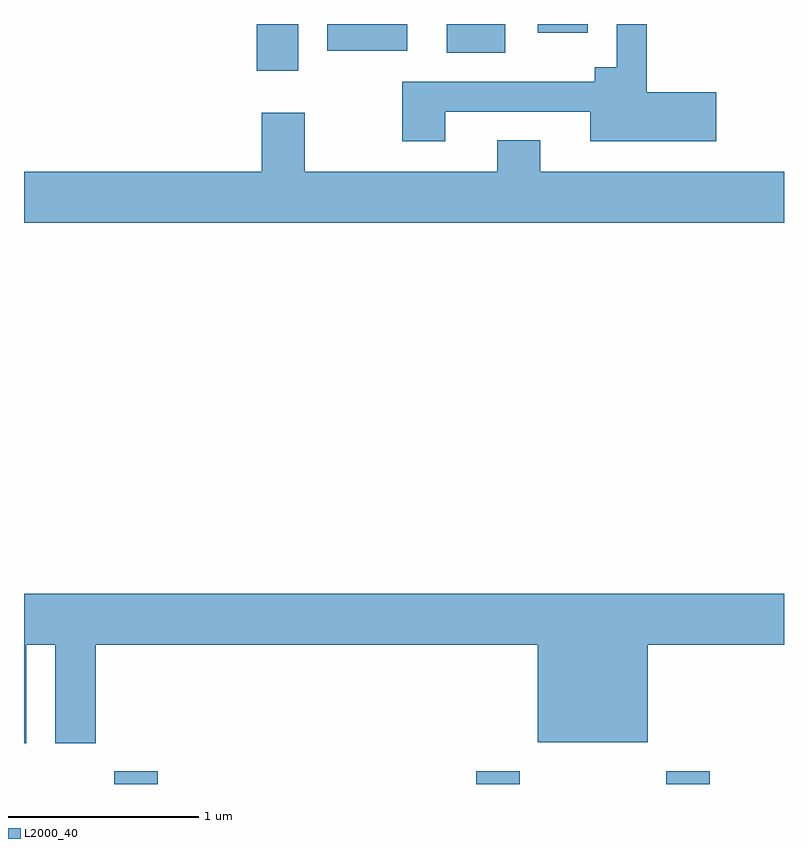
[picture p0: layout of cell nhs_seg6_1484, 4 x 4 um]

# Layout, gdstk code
import gdstk
lib = gdstk.Library(unit=1e-6, precision=1e-09)
def R(c, l, rs):  # rectangles x0, y0, x1, y1
    for r in rs: c.add(gdstk.rectangle(r[:2], r[2:], *l))
def P(c, l, *ps):  # polygons
    for p in ps: c.add(gdstk.Polygon(p, *l))
L2000_40 = (2000, 40)

nhs_seg6_1484 = lib.new_cell('nhs_seg6_1484')
R(nhs_seg6_1484, L2000_40, [(230.086,1578.162,230.314,1578.229), (231.991,1578.162,232.219,1578.229), (232.991,1578.162,233.219,1578.229), (230.836,1581.916,231.054,1582.162), (231.836,1582.011,232.144,1582.162), (231.206,1582.021,231.629,1582.162), (232.316,1582.116,232.579,1582.162)])
P(nhs_seg6_1484, L2000_40, [(231.829,1581.701),(232.591,1581.701),(232.591,1581.546),(233.254,1581.546),(233.254,1581.804),(232.889,1581.804),(232.889,1582.162),(232.731,1582.162),(232.731,1581.934),(232.616,1581.934),(232.616,1581.859),(231.601,1581.859),(231.601,1581.546),(231.829,1581.546)],
  [(233.611,1581.384),(232.329,1581.384),(232.329,1581.549),(232.101,1581.549),(232.101,1581.384),(231.089,1581.384),(231.089,1581.694),(230.861,1581.694),(230.861,1581.384),(229.611,1581.384),(229.611,1581.116),(233.611,1581.116)],
  [(229.624,1578.896),(229.776,1578.896),(229.776,1578.376),(229.989,1578.376),(229.989,1578.896),(232.316,1578.896),(232.316,1578.381),(232.894,1578.381),(232.894,1578.896),(233.611,1578.896),(233.611,1579.164),(229.611,1579.164),(229.611,1578.376),(229.624,1578.376)])

lib.write_gds('nhs_seg6_1484.gds')
